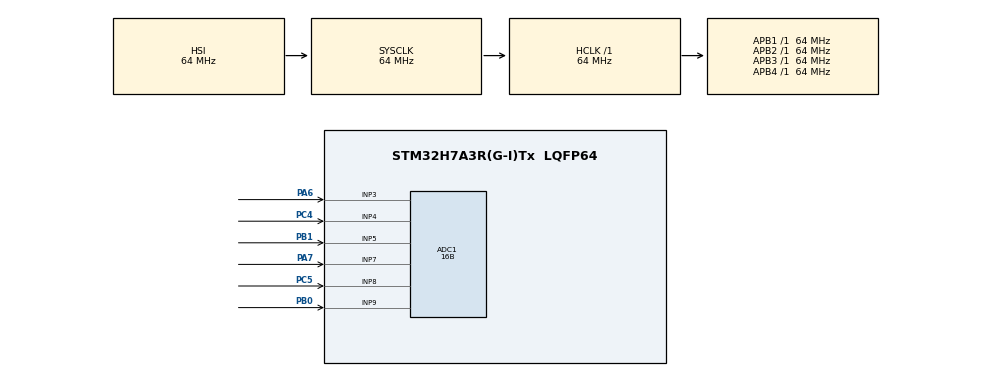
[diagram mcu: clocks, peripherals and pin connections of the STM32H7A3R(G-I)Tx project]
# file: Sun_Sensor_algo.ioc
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ADC1.Channel-0\#ChannelRegularConversion=ADC_CHANNEL_4
ADC1.Channel-1\#ChannelRegularConversion=ADC_CHANNEL_3
ADC1.Channel-2\#ChannelRegularConversion=ADC_CHANNEL_5
ADC1.Channel-3\#ChannelRegularConversion=ADC_CHANNEL_8
ADC1.Channel-4\#ChannelRegularConversion=ADC_CHANNEL_7
ADC1.Channel-5\#ChannelRegularConversion=ADC_CHANNEL_9
ADC1.ContinuousConvMode=DISABLE
ADC1.ConversionDataManagement=ADC_CONVERSIONDATA_DMA_ONESHOT
ADC1.DiscontinuousConvMode=DISABLE
ADC1.EOCSelection=ADC_EOC_SINGLE_CONV
ADC1.NbrOfConversion=6
ADC1.NbrOfConversionFlag=1
ADC1.OffsetNumber-0\#ChannelRegularConversion=ADC_OFFSET_NONE
ADC1.OffsetNumber-1\#ChannelRegularConversion=ADC_OFFSET_NONE
ADC1.OffsetNumber-2\#ChannelRegularConversion=ADC_OFFSET_NONE
ADC1.OffsetNumber-3\#ChannelRegularConversion=ADC_OFFSET_NONE
ADC1.OffsetNumber-4\#ChannelRegularConversion=ADC_OFFSET_NONE
ADC1.OffsetNumber-5\#ChannelRegularConversion=ADC_OFFSET_NONE
ADC1.OffsetSignedSaturation-0\#ChannelRegularConversion=DISABLE
ADC1.OffsetSignedSaturation-1\#ChannelRegularConversion=DISABLE
ADC1.OffsetSignedSaturation-2\#ChannelRegularConversion=DISABLE
ADC1.OffsetSignedSaturation-3\#ChannelRegularConversion=DISABLE
ADC1.OffsetSignedSaturation-4\#ChannelRegularConversion=DISABLE
ADC1.OffsetSignedSaturation-5\#ChannelRegularConversion=DISABLE
ADC1.Rank-0\#ChannelRegularConversion=1
ADC1.Rank-1\#ChannelRegularConversion=2
ADC1.Rank-2\#ChannelRegularConversion=3
ADC1.Rank-3\#ChannelRegularConversion=4
ADC1.Rank-4\#ChannelRegularConversion=5
ADC1.Rank-5\#ChannelRegularConversion=6
ADC1.Resolution=ADC_RESOLUTION_16B
ADC1.SamplingTime-0\#ChannelRegularConversion=ADC_SAMPLETIME_1CYCLE_5
ADC1.SamplingTime-1\#ChannelRegularConversion=ADC_SAMPLETIME_1CYCLE_5
ADC1.SamplingTime-2\#ChannelRegularConversion=ADC_SAMPLETIME_1CYCLE_5
ADC1.SamplingTime-3\#ChannelRegularConversion=ADC_SAMPLETIME_1CYCLE_5
ADC1.SamplingTime-4\#ChannelRegularConversion=ADC_SAMPLETIME_1CYCLE_5
ADC1.SamplingTime-5\#ChannelRegularConversion=ADC_SAMPLETIME_1CYCLE_5
ADC1.master=1
CORTEX_M7.default_mode_Activation=1
Dma.ADC1.0.Direction=DMA_PERIPH_TO_MEMORY
Dma.ADC1.0.EventEnable=DISABLE
Dma.ADC1.0.FIFOMode=DMA_FIFOMODE_DISABLE
Dma.ADC1.0.Instance=DMA1_Stream0
Dma.ADC1.0.MemDataAlignment=DMA_MDATAALIGN_HALFWORD
Dma.ADC1.0.MemInc=DMA_MINC_ENABLE
Dma.ADC1.0.Mode=DMA_CIRCULAR
Dma.ADC1.0.PeriphDataAlignment=DMA_PDATAALIGN_HALFWORD
Dma.ADC1.0.PeriphInc=DMA_PINC_DISABLE
Dma.ADC1.0.Polarity=HAL_DMAMUX_REQ_GEN_RISING
Dma.ADC1.0.Priority=DMA_PRIORITY_LOW
Dma.ADC1.0.RequestNumber=1
Dma.ADC1.0.SignalID=NONE
Dma.ADC1.0.SyncEnable=DISABLE
Dma.ADC1.0.SyncPolarity=HAL_DMAMUX_SYNC_NO_EVENT
Dma.ADC1.0.SyncRequestNumber=1
Dma.ADC1.0.SyncSignalID=NONE
Dma.Request0=ADC1
Mcu.Family=STM32H7
Mcu.Name=STM32H7A3R(G-I)Tx
Mcu.Package=LQFP64
NVIC.ADC_IRQn=true\:0\:0\:false\:false\:true\:true\:true\:true
NVIC.DMA1_Stream0_IRQn=true\:0\:0\:false\:false\:true\:false\:true\:true
NVIC.PriorityGroup=NVIC_PRIORITYGROUP_4
PA6.Signal=ADCx_INP3
PA7.Signal=ADCx_INP7
PB0.Signal=ADCx_INP9
PB1.Signal=ADCx_INP5
PC4.Signal=ADCx_INP4
PC5.Signal=ADCx_INP8
ProjectManager.HeapSize=0x200
ProjectManager.StackSize=0x400
ProjectManager.TargetToolchain=STM32CubeIDE
RCC.ADCFreq_Value=42666666.666666664
RCC.APB1Freq_Value=64000000
RCC.APB2Freq_Value=64000000
RCC.APB3Freq_Value=64000000
RCC.APB4Freq_Value=64000000
RCC.CortexFreq_Value=64000000
RCC.DIVM2=4
RCC.DIVN2=8
RCC.DIVP2=3
RCC.HCLKFreq_Value=64000000
RCC.PLL2FRACN=0
RCC.SYSCLKFreq_VALUE=64000000
RCC.USBFreq_Value=129000000
SH.ADCx_INP3.0=ADC1_INP3,IN3-Single-Ended
SH.ADCx_INP4.0=ADC1_INP4,IN4-Single-Ended
SH.ADCx_INP5.0=ADC1_INP5,IN5-Single-Ended
SH.ADCx_INP7.0=ADC1_INP7,IN7-Single-Ended
SH.ADCx_INP8.0=ADC1_INP8,IN8-Single-Ended
SH.ADCx_INP9.0=ADC1_INP9,IN9-Single-Ended
VP_MEMORYMAP_VS_MEMORYMAP.Mode=CurAppReg
board=custom

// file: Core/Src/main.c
/* USER CODE BEGIN Header */
/**
  ******************************************************************************
  * @file           : main.c
  * @brief          : Main program body
  ******************************************************************************
  * @attention
  *
  * Copyright (c) 2026 STMicroelectronics.
  * All rights reserved.
  *
  * This software is licensed under terms that can be found in the LICENSE file
  * in the root directory of this software component.
  * If no LICENSE file comes with this software, it is provided AS-IS.
  *
  ******************************************************************************
  */
/* USER CODE END Header */
#include "main.h"

/* USER CODE BEGIN Includes */
#include <math.h>
/* USER CODE END Includes */

ADC_HandleTypeDef hadc1;
DMA_HandleTypeDef hdma_adc1;

void SystemClock_Config(void);
static void MPU_Config(void);
static void MX_GPIO_Init(void);
static void MX_DMA_Init(void);
static void MX_ADC1_Init(void);

/* USER CODE BEGIN 0 */

//uint16_t sun[6];
int ADC_Finished = 0;
int count = 0;
void HAL_ADC_ConvCpltCallback(ADC_HandleTypeDef *hadc)
{
	ADC_Finished = 1;

}
uint16_t sun[6] = {10000, 59000, 35000, 10000, 35000, 10000}; //false sun data

const char*Axes[] = {"Z", "-Z", "X", "-X", "Y", "-Y"};

int map(int x, int in_min, int in_max, int out_min, int out_max) {
    if (x < in_min) {
        x = in_min;
    }
    if (x > in_max) {
        x = out_max;
    }
    return (int)((int32_t)(x - in_min) * (out_max - out_min) / (in_max - in_min) + out_min);
}

uint16_t top_vals[3];
uint8_t  top_idx[3];
float    top_lamb[3];

void top3(const uint16_t*data, uint16_t*out_vals, uint8_t*out_idx)
{
    for (uint8_t i = 0; i < 3; i++) {
        out_vals[i] = 0;
        out_idx[i]  = 0xFF;
    }

    for (uint8_t i = 0; i < 6; i++) {
        if (data[i] > out_vals[0]) {
            out_vals[2] = out_vals[1]; out_idx[2] = out_idx[1];
            out_vals[1] = out_vals[0]; out_idx[1] = out_idx[0];
            out_vals[0] = data[i];     out_idx[0] = i;
        } else if (data[i] > out_vals[1]) {
            out_vals[2] = out_vals[1]; out_idx[2] = out_idx[1];
            out_vals[1] = data[i];     out_idx[1] = i;
        } else if (data[i] > out_vals[2]) {
            out_vals[2] = data[i];     out_idx[2] = i;
        }
    }
}

float getAngle(float intensity) {
    float val = 1940.0f / (intensity + 940.0f);
    return 88.0f * powf(val - 1.0f, 1.0f / 3.3f);
}

float getLambertian(uint16_t adc, uint16_t minVal, uint16_t maxVal) {
    float value = (float)map(adc, minVal, maxVal, 0, 1000);
    float angle = getAngle(value);
    return cosf(angle * (float)M_PI / 180.0f); // cos expects radians
}

float vec[3] = {0.0f, 0.0f, 0.0f};
float phi = 0.0f;
float theta  = 0.0f;
float elevation = 0.0f;
float r = 0.0f;
//uint16_t minIntensity[6] = {64000, 64000, 64000, 64000, 64000, 64000};
//uint16_t maxIntensity[6] = {0, 0, 0, 0, 0, 0};
//initiate variables for sun sensors

/* USER CODE END 0 */

int main(void)
{

  /* MPU Configuration--------------------------------------------------------*/
  MPU_Config();

  /* MCU Configuration--------------------------------------------------------*/

  /* Reset of all peripherals, Initializes the Flash interface and the Systick. */
  HAL_Init();

  /* Configure the system clock */
  SystemClock_Config();

  /* Initialize all configured peripherals */
  MX_GPIO_Init();
  MX_DMA_Init();
  MX_ADC1_Init();
  /* USER CODE BEGIN 2 */
  uint16_t globalMin = 65535;
  uint16_t globalMax = 0;

  for (int i = 0; i < 6; i++) {
      if (sun[i] > globalMax) globalMax = sun[i];
      if (sun[i] < globalMin) globalMin = sun[i];
  }
  top3(sun, top_vals, top_idx);
  for (int i = 0; i < 3; i++){
	  top_lamb[i] = getLambertian(top_vals[i], globalMin, globalMax);
  }

  for (int i = 0; i < 3; i++) {
      uint8_t idx  = top_idx[i];
      float   sign = (idx % 2 == 0) ? 1.0f : -1.0f;
      if      (idx <= 1) vec[2] += sign * top_lamb[i];  // Z
      else if (idx <= 3) vec[0] += sign * top_lamb[i];  // X
      else               vec[1] += sign * top_lamb[i];  // Y
  }
  float r = sqrtf(vec[0]*vec[0] + vec[1]*vec[1] + vec[2]*vec[2]);
  if (r == 0.0f) r = 1.0f;
  vec[0]/=r; //x
  vec[1]/=r;// y
  vec[2]/=r; // z

  phi = atan2f(vec[1], vec[0]) * 180.0f / (float)M_PI;  // Azimuth
  theta = acosf(vec[2])     * 180.0f / (float)M_PI;
  elevation = 90.0f - theta;                      // Elevation
  HAL_ADC_Start_DMA(&hadc1, (uint32_t*)sun, 6);

  /* USER CODE END 2 */

  /* Infinite loop */
  /* USER CODE BEGIN WHILE */
  while (1)
  {
	  count ++;
	  HAL_Delay(200);

	  if (ADC_Finished == 1){
	      ADC_Finished = 0;
	      HAL_ADC_Stop_DMA(&hadc1);

	      HAL_ADC_Start_DMA(&hadc1, (uint32_t*)sun, 6);

	  }
    /* USER CODE END WHILE */

  }
}

void SystemClock_Config(void)
{
  RCC_OscInitTypeDef RCC_OscInitStruct = {0};
  RCC_ClkInitTypeDef RCC_ClkInitStruct = {0};

  /*AXI clock gating */
  RCC->CKGAENR = 0xE003FFFF;

  /** Supply configuration update enable
  */
  HAL_PWREx_ConfigSupply(PWR_LDO_SUPPLY);

  /** Configure the main internal regulator output voltage
  */
  __HAL_PWR_VOLTAGESCALING_CONFIG(PWR_REGULATOR_VOLTAGE_SCALE3);

  while(!__HAL_PWR_GET_FLAG(PWR_FLAG_VOSRDY)) {}

  /** Macro to configure the PLL clock source
  */
  __HAL_RCC_PLL_PLLSOURCE_CONFIG(RCC_PLLSOURCE_HSI);

  /** Initializes the RCC Oscillators according to the specified parameters
  * in the RCC_OscInitTypeDef structure.
  */
  RCC_OscInitStruct.OscillatorType = RCC_OSCILLATORTYPE_HSI;
  RCC_OscInitStruct.HSIState = RCC_HSI_DIV1;
  RCC_OscInitStruct.HSICalibrationValue = 64;
  RCC_OscInitStruct.PLL.PLLState = RCC_PLL_NONE;
  if (HAL_RCC_OscConfig(&RCC_OscInitStruct) != HAL_OK)
  {
    Error_Handler();
  }

  /** Initializes the CPU, AHB and APB buses clocks
  */
  RCC_ClkInitStruct.ClockType = RCC_CLOCKTYPE_HCLK|RCC_CLOCKTYPE_SYSCLK
                              |RCC_CLOCKTYPE_PCLK1|RCC_CLOCKTYPE_PCLK2
                              |RCC_CLOCKTYPE_D3PCLK1|RCC_CLOCKTYPE_D1PCLK1;
  RCC_ClkInitStruct.SYSCLKSource = RCC_SYSCLKSOURCE_HSI;
  RCC_ClkInitStruct.SYSCLKDivider = RCC_SYSCLK_DIV1;
  RCC_ClkInitStruct.AHBCLKDivider = RCC_HCLK_DIV1;
  RCC_ClkInitStruct.APB3CLKDivider = RCC_APB3_DIV1;
  RCC_ClkInitStruct.APB1CLKDivider = RCC_APB1_DIV1;
  RCC_ClkInitStruct.APB2CLKDivider = RCC_APB2_DIV1;
  RCC_ClkInitStruct.APB4CLKDivider = RCC_APB4_DIV1;

  if (HAL_RCC_ClockConfig(&RCC_ClkInitStruct, FLASH_LATENCY_2) != HAL_OK)
  {
    Error_Handler();
  }
}

static void MX_ADC1_Init(void)
{

  ADC_MultiModeTypeDef multimode = {0};
  ADC_ChannelConfTypeDef sConfig = {0};

  /** Common config
  */
  hadc1.Instance = ADC1;
  hadc1.Init.ClockPrescaler = ADC_CLOCK_ASYNC_DIV1;
  hadc1.Init.Resolution = ADC_RESOLUTION_16B;
  hadc1.Init.ScanConvMode = ADC_SCAN_ENABLE;
  hadc1.Init.EOCSelection = ADC_EOC_SINGLE_CONV;
  hadc1.Init.LowPowerAutoWait = DISABLE;
  hadc1.Init.ContinuousConvMode = ENABLE;
  hadc1.Init.NbrOfConversion = 6;
  hadc1.Init.DiscontinuousConvMode = DISABLE;
  hadc1.Init.ExternalTrigConv = ADC_SOFTWARE_START;
  hadc1.Init.ExternalTrigConvEdge = ADC_EXTERNALTRIGCONVEDGE_NONE;
  hadc1.Init.ConversionDataManagement = ADC_CONVERSIONDATA_DMA_ONESHOT;
  hadc1.Init.Overrun = ADC_OVR_DATA_PRESERVED;
  hadc1.Init.LeftBitShift = ADC_LEFTBITSHIFT_NONE;
  hadc1.Init.OversamplingMode = DISABLE;
  if (HAL_ADC_Init(&hadc1) != HAL_OK)
  {
    Error_Handler();
  }

  /** Configure the ADC multi-mode
  */
  multimode.Mode = ADC_MODE_INDEPENDENT;
  if (HAL_ADCEx_MultiModeConfigChannel(&hadc1, &multimode) != HAL_OK)
  {
    Error_Handler();
  }

  /** Configure Regular Channel
  */
  sConfig.Channel = ADC_CHANNEL_3;
  sConfig.Rank = ADC_REGULAR_RANK_1;
  sConfig.SamplingTime = ADC_SAMPLETIME_1CYCLE_5;
  sConfig.SingleDiff = ADC_SINGLE_ENDED;
  sConfig.OffsetNumber = ADC_OFFSET_NONE;
  sConfig.Offset = 0;
  sConfig.OffsetSignedSaturation = DISABLE;
  if (HAL_ADC_ConfigChannel(&hadc1, &sConfig) != HAL_OK)
  {
    Error_Handler();
  }

  /** Configure Regular Channel
  */
  sConfig.Channel = ADC_CHANNEL_4;
  sConfig.Rank = ADC_REGULAR_RANK_2;
  if (HAL_ADC_ConfigChannel(&hadc1, &sConfig) != HAL_OK)
  {
    Error_Handler();
  }

  /** Configure Regular Channel
  */
  sConfig.Channel = ADC_CHANNEL_5;
  sConfig.Rank = ADC_REGULAR_RANK_3;
  if (HAL_ADC_ConfigChannel(&hadc1, &sConfig) != HAL_OK)
  {
    Error_Handler();
  }

  /** Configure Regular Channel
  */
  sConfig.Channel = ADC_CHANNEL_7;
  sConfig.Rank = ADC_REGULAR_RANK_4;
  if (HAL_ADC_ConfigChannel(&hadc1, &sConfig) != HAL_OK)
  {
    Error_Handler();
  }

  /** Configure Regular Channel
  */
  sConfig.Channel = ADC_CHANNEL_8;
  sConfig.Rank = ADC_REGULAR_RANK_5;
  if (HAL_ADC_ConfigChannel(&hadc1, &sConfig) != HAL_OK)
  {
    Error_Handler();
  }

  /** Configure Regular Channel
  */
  sConfig.Channel = ADC_CHANNEL_9;
  sConfig.Rank = ADC_REGULAR_RANK_6;
  if (HAL_ADC_ConfigChannel(&hadc1, &sConfig) != HAL_OK)
  {
    Error_Handler();
  }

}

static void MX_DMA_Init(void)
{

  /* DMA controller clock enable */
  __HAL_RCC_DMA1_CLK_ENABLE();

  /* DMA interrupt init */
  /* DMA1_Stream0_IRQn interrupt configuration */
  HAL_NVIC_SetPriority(DMA1_Stream0_IRQn, 0, 0);
  HAL_NVIC_EnableIRQ(DMA1_Stream0_IRQn);

}

static void MX_GPIO_Init(void)
{

  /* GPIO Ports Clock Enable */
  __HAL_RCC_GPIOA_CLK_ENABLE();
  __HAL_RCC_GPIOC_CLK_ENABLE();
  __HAL_RCC_GPIOB_CLK_ENABLE();

}

 /* MPU Configuration */

void MPU_Config(void)
{
  MPU_Region_InitTypeDef MPU_InitStruct = {0};

  /* Disables the MPU */
  HAL_MPU_Disable();

  /** Initializes and configures the Region and the memory to be protected
  */
  MPU_InitStruct.Enable = MPU_REGION_ENABLE;
  MPU_InitStruct.Number = MPU_REGION_NUMBER0;
  MPU_InitStruct.BaseAddress = 0x0;
  MPU_InitStruct.Size = MPU_REGION_SIZE_4GB;
  MPU_InitStruct.SubRegionDisable = 0x87;
  MPU_InitStruct.TypeExtField = MPU_TEX_LEVEL0;
  MPU_InitStruct.AccessPermission = MPU_REGION_NO_ACCESS;
  MPU_InitStruct.DisableExec = MPU_INSTRUCTION_ACCESS_DISABLE;
  MPU_InitStruct.IsShareable = MPU_ACCESS_SHAREABLE;
  MPU_InitStruct.IsCacheable = MPU_ACCESS_NOT_CACHEABLE;
  MPU_InitStruct.IsBufferable = MPU_ACCESS_NOT_BUFFERABLE;

  HAL_MPU_ConfigRegion(&MPU_InitStruct);
  /* Enables the MPU */
  HAL_MPU_Enable(MPU_PRIVILEGED_DEFAULT);

}

void Error_Handler(void)
{
  __disable_irq();
  while (1)
  {
  }
}
